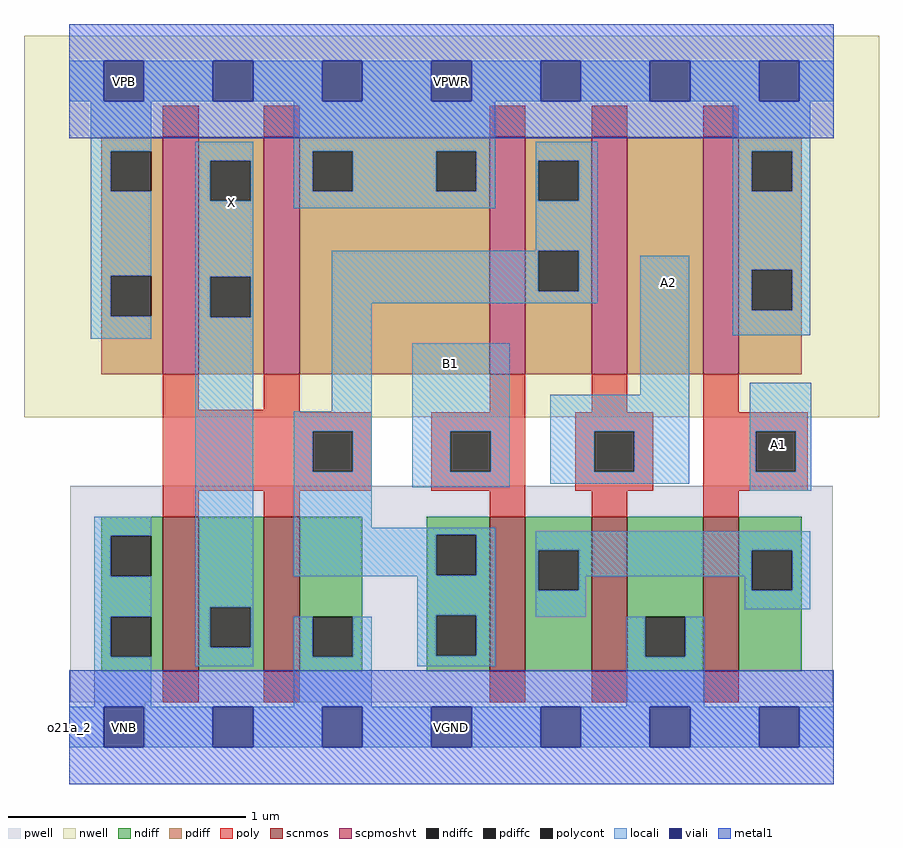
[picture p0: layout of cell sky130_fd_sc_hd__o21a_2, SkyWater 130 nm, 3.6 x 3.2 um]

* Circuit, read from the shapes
.subckt sky130_fd_sc_hd__o21a_2 A1 A2 B1 VGND VNB VPB VPWR X
XM1 X n1 VGND VNB sky130_fd_pr__nfet_01v8 w=0.65 l=0.15 m=2
XM2 n2 B1 n1 VNB sky130_fd_pr__nfet_01v8 w=0.65 l=0.15
XM3 VGND A2 n2 VNB sky130_fd_pr__nfet_01v8 w=0.65 l=0.15
XM4 n2 A1 VGND VNB sky130_fd_pr__nfet_01v8 w=0.65 l=0.15
XM5 X n1 VPWR VPB sky130_fd_pr__pfet_01v8_hvt w=1 l=0.15 m=2
XM6 n1 B1 VPWR VPB sky130_fd_pr__pfet_01v8_hvt w=1 l=0.15
XM7 n3 A2 n1 VPB sky130_fd_pr__pfet_01v8_hvt w=1 l=0.15
XM8 VPWR A1 n3 VPB sky130_fd_pr__pfet_01v8_hvt w=1 l=0.15
.ends

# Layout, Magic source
magic
tech sky130B
magscale 1 2
<< nwell >>
rect -38 261 682 582
<< pwell >>
rect 1 21 643 203
rect 30 -17 64 21
<< scnmos >>
rect 79 47 109 177
rect 164 47 194 177
rect 354 47 384 177
rect 440 47 470 177
rect 534 47 564 177
<< scpmoshvt >>
rect 79 297 109 497
rect 164 297 194 497
rect 354 297 384 497
rect 440 297 470 497
rect 534 297 564 497
<< ndiff >>
rect 27 161 79 177
rect 27 127 35 161
rect 69 127 79 161
rect 27 93 79 127
rect 27 59 35 93
rect 69 59 79 93
rect 27 47 79 59
rect 109 101 164 177
rect 109 67 119 101
rect 153 67 164 101
rect 109 47 164 67
rect 194 93 247 177
rect 194 59 205 93
rect 239 59 247 93
rect 194 47 247 59
rect 301 162 354 177
rect 301 128 309 162
rect 343 128 354 162
rect 301 94 354 128
rect 301 60 309 94
rect 343 60 354 94
rect 301 47 354 60
rect 384 149 440 177
rect 384 115 395 149
rect 429 115 440 149
rect 384 47 440 115
rect 470 93 534 177
rect 470 59 485 93
rect 519 59 534 93
rect 470 47 534 59
rect 564 149 617 177
rect 564 115 575 149
rect 609 115 617 149
rect 564 47 617 115
<< pdiff >>
rect 27 485 79 497
rect 27 451 35 485
rect 69 451 79 485
rect 27 380 79 451
rect 27 346 35 380
rect 69 346 79 380
rect 27 297 79 346
rect 109 477 164 497
rect 109 443 119 477
rect 153 443 164 477
rect 109 379 164 443
rect 109 345 119 379
rect 153 345 164 379
rect 109 297 164 345
rect 194 485 354 497
rect 194 451 205 485
rect 239 451 309 485
rect 343 451 354 485
rect 194 297 354 451
rect 384 477 440 497
rect 384 443 395 477
rect 429 443 440 477
rect 384 401 440 443
rect 384 367 395 401
rect 429 367 440 401
rect 384 297 440 367
rect 470 297 534 497
rect 564 485 617 497
rect 564 451 575 485
rect 609 451 617 485
rect 564 385 617 451
rect 564 351 575 385
rect 609 351 617 385
rect 564 297 617 351
<< ndiffc >>
rect 35 127 69 161
rect 35 59 69 93
rect 119 67 153 101
rect 205 59 239 93
rect 309 128 343 162
rect 309 60 343 94
rect 395 115 429 149
rect 485 59 519 93
rect 575 115 609 149
<< pdiffc >>
rect 35 451 69 485
rect 35 346 69 380
rect 119 443 153 477
rect 119 345 153 379
rect 205 451 239 485
rect 309 451 343 485
rect 395 443 429 477
rect 395 367 429 401
rect 575 451 609 485
rect 575 351 609 385
<< poly >>
rect 79 497 109 523
rect 164 497 194 523
rect 354 497 384 523
rect 440 497 470 523
rect 534 497 564 523
rect 79 267 109 297
rect 164 267 194 297
rect 79 265 194 267
rect 354 265 384 297
rect 440 265 470 297
rect 534 265 564 297
rect 79 249 255 265
rect 79 215 205 249
rect 239 215 255 249
rect 79 199 255 215
rect 305 249 384 265
rect 305 215 321 249
rect 355 215 384 249
rect 305 199 384 215
rect 426 249 492 265
rect 426 215 442 249
rect 476 215 492 249
rect 426 199 492 215
rect 534 249 622 265
rect 534 215 578 249
rect 612 215 622 249
rect 534 199 622 215
rect 79 177 109 199
rect 164 177 194 199
rect 354 177 384 199
rect 440 177 470 199
rect 534 177 564 199
rect 79 21 109 47
rect 164 21 194 47
rect 354 21 384 47
rect 440 21 470 47
rect 534 21 564 47
<< polycont >>
rect 205 215 239 249
rect 321 215 355 249
rect 442 215 476 249
rect 578 215 612 249
<< locali >>
rect 0 527 29 561
rect 63 527 121 561
rect 155 527 213 561
rect 247 527 305 561
rect 339 527 397 561
rect 431 527 489 561
rect 523 527 581 561
rect 615 527 644 561
rect 18 485 69 527
rect 18 451 35 485
rect 18 380 69 451
rect 18 346 35 380
rect 18 327 69 346
rect 106 477 155 493
rect 106 443 119 477
rect 153 443 155 477
rect 106 379 155 443
rect 189 485 359 527
rect 189 451 205 485
rect 239 451 309 485
rect 343 451 359 485
rect 189 437 359 451
rect 393 477 445 493
rect 393 443 395 477
rect 429 443 445 477
rect 393 401 445 443
rect 106 345 119 379
rect 153 345 155 379
rect 21 161 69 177
rect 21 127 35 161
rect 21 93 69 127
rect 21 59 35 93
rect 21 17 69 59
rect 106 101 155 345
rect 221 367 395 401
rect 429 367 445 401
rect 559 485 624 527
rect 559 451 575 485
rect 609 451 624 485
rect 221 357 445 367
rect 221 266 255 357
rect 189 249 255 266
rect 189 215 205 249
rect 239 215 255 249
rect 189 168 255 215
rect 289 249 371 323
rect 481 280 522 397
rect 559 385 624 451
rect 559 351 575 385
rect 609 351 624 385
rect 559 330 624 351
rect 289 215 321 249
rect 355 215 371 249
rect 289 202 371 215
rect 405 249 522 280
rect 405 215 442 249
rect 476 215 522 249
rect 405 205 522 215
rect 573 249 625 290
rect 573 215 578 249
rect 612 215 625 249
rect 573 199 625 215
rect 189 162 359 168
rect 189 128 309 162
rect 343 128 359 162
rect 189 127 359 128
rect 106 67 119 101
rect 153 67 155 101
rect 293 94 359 127
rect 106 51 155 67
rect 189 59 205 93
rect 239 59 255 93
rect 189 17 255 59
rect 293 60 309 94
rect 343 60 359 94
rect 393 149 624 165
rect 393 115 395 149
rect 429 127 575 149
rect 429 115 435 127
rect 393 93 435 115
rect 569 115 575 127
rect 609 115 624 149
rect 569 99 624 115
rect 293 51 359 60
rect 469 59 485 93
rect 519 59 535 93
rect 469 17 535 59
rect 0 -17 29 17
rect 63 -17 121 17
rect 155 -17 213 17
rect 247 -17 305 17
rect 339 -17 397 17
rect 431 -17 489 17
rect 523 -17 581 17
rect 615 -17 644 17
<< viali >>
rect 29 527 63 561
rect 121 527 155 561
rect 213 527 247 561
rect 305 527 339 561
rect 397 527 431 561
rect 489 527 523 561
rect 581 527 615 561
rect 29 -17 63 17
rect 121 -17 155 17
rect 213 -17 247 17
rect 305 -17 339 17
rect 397 -17 431 17
rect 489 -17 523 17
rect 581 -17 615 17
<< metal1 >>
rect 0 561 644 592
rect 0 527 29 561
rect 63 527 121 561
rect 155 527 213 561
rect 247 527 305 561
rect 339 527 397 561
rect 431 527 489 561
rect 523 527 581 561
rect 615 527 644 561
rect 0 496 644 527
rect 0 17 644 48
rect 0 -17 29 17
rect 63 -17 121 17
rect 155 -17 213 17
rect 247 -17 305 17
rect 339 -17 397 17
rect 431 -17 489 17
rect 523 -17 581 17
rect 615 -17 644 17
rect 0 -48 644 -17
<< labels >>
flabel locali s 580 221 614 255 0 FreeSans 340 0 0 0 A1
port 1 nsew signal input
flabel locali s 304 289 338 323 0 FreeSans 340 0 0 0 B1
port 3 nsew signal input
flabel locali s 488 357 522 391 0 FreeSans 340 0 0 0 A2
port 2 nsew signal input
flabel locali s 120 425 154 459 0 FreeSans 340 0 0 0 X
port 8 nsew signal output
flabel pwell s 30 -17 64 17 0 FreeSans 200 0 0 0 VNB
port 5 nsew ground bidirectional
flabel nwell s 30 527 64 561 0 FreeSans 200 0 0 0 VPB
port 6 nsew power bidirectional
flabel metal1 s 30 -17 64 17 0 FreeSans 200 0 0 0 VGND
port 4 nsew ground bidirectional abutment
flabel metal1 s 30 527 64 561 0 FreeSans 200 0 0 0 VPWR
port 7 nsew power bidirectional abutment
rlabel comment s 0 0 0 0 4 o21a_2
rlabel metal1 s 0 -48 644 48 1 VGND
port 4 nsew ground bidirectional abutment
rlabel metal1 s 0 496 644 592 1 VPWR
port 7 nsew power bidirectional abutment
<< properties >>
string FIXED_BBOX 0 0 644 544
string GDS_END 1271234
string GDS_FILE $PDKPATH/libs.ref/sky130_fd_sc_hd/gds/sky130_fd_sc_hd.gds
string GDS_START 1265726
string LEFclass CORE
string LEFsite unithd
string LEFsymmetry X Y R90
string path 0.000 0.000 3.220 0.000 
<< end >>
